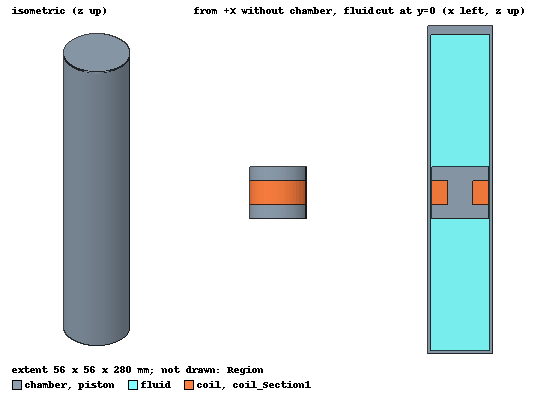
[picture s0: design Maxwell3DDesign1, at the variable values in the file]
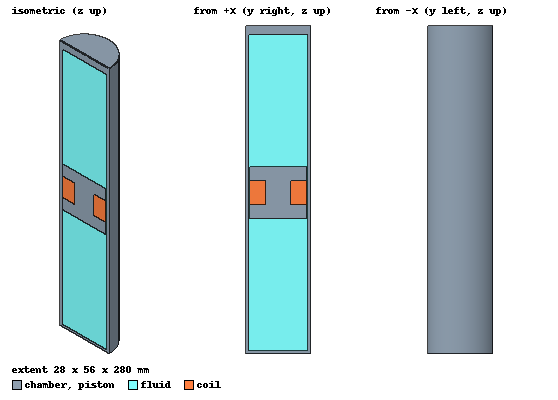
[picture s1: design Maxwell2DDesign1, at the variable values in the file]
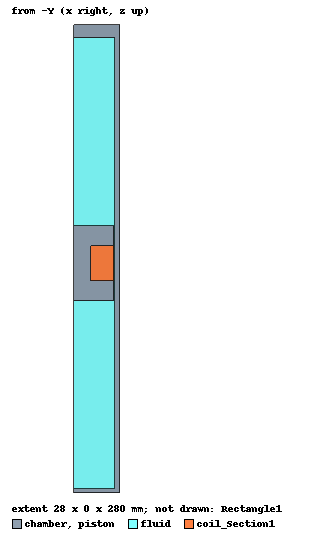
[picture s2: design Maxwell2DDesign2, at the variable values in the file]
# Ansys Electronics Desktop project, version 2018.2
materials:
  vacuum: permittivity=1
  copper: permeability=0.999991 conductivity=58000000
  steel_1008: permeability{BType=normal HUnit=A_per_meter BUnit=tesla curve (0, 0) (159.2, 0.2402) (318.3, 0.8654) (477.5, 1.1106) (636.6, 1.2458) (795.8, 1.331) (1591.5, 1.5) (3183.1, 1.6) (4774.6, 1.683) (6366.2, 1.741) (7957.7, 1.78) (15915.5, 1.905) (31831, 2.025) (47746.5, 2.085) (63662, 2.13) (79577.5, 2.165) (159155, 2.28) (318310, 2.485) (397887, 2.5851)} conductivity=2000000
  MR_fluid: permeability{BType=normal HUnit=kA_per_meter BUnit=tesla curve (0, 0) (5.7065217, 0.072045028) (10.461957, 0.12007505) (15.155199, 0.15630423) (21.908371, 0.19567732) (28.661544, 0.23564249) (36.540245, 0.27427549) (44.981711, 0.31290849) (52.8604119, 0.34817933) (61.864642, 0.38869429) (71.43163616, 0.42614313) (80.99863, 0.46487481) (91.691154, 0.50278745) (102.94644, 0.53920016) (114.76449, 0.57756672) (127.14531, 0.61422164) (139.52613, 0.64635526) (151.9069413, 0.67703559) (164.28776, 0.70755444) (176.66857, 0.736942973) (189.04939, 0.76358642) (201.43021, 0.78764626) (213.81102, 0.81202905) (226.19184, 0.83625036) (238.57265, 0.86014873) (250.95347, 0.88388562) (263.33429, 0.90746103) (275.7151, 0.92942169) (288.09592, 0.94912169) (300.47674, 0.96849874) (312.85755, 0.98803727) (325.23837, 1.0074143) (337.61918, 1.0243692) (350, 1.0416471) (362.3808162, 1.0579561) (374.76163, 1.0749111) (387.14245, 1.0926734) (399.52326, 1.1094668) (411.90408, 1.1272291) (424.2849, 1.1453143) (436.66571, 1.1625922) (449.04653, 1.180516) (461.42735, 1.1986012) (473.80816, 1.2153947) (486.18898, 1.2323496) (498.56979, 1.249143) (510.95061, 1.265775) (523.33143, 1.2827299) (535.7122426, 1.2993619) (548.09306, 1.3158324) (560.47387, 1.3329488) (572.85469, 1.3486119) (585.23551, 1.3647595) (597.61632, 1.3810685) (609.99714, 1.3965701) (622.37796, 1.4127177) (634.75877, 1.4287037)}

design Maxwell3DDesign1 (Maxwell 3D, Magnetostatic, model units mm)
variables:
  Amp = 0.2A
  Turns = 360
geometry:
  Cylinder1 = cylinder(axis=Z, base_centre=(0mm, 0mm, -135mm), radius=25mm, height=270mm)
  chamber [steel_1008] = cylinder(axis=Z, base_centre=(0mm, 0mm, -137.5mm), radius=28mm, height=280mm)
  piston [steel_1008] = cylinder(axis=Z, base_centre=(0mm, 0mm, -22.5mm), radius=24.1mm, height=45mm)
  Circle1 = circle(normal=Z, centre=(0mm, 0mm, 22.5mm), radius=10.39mm)
  coil [copper] = circle(normal=Z, centre=(0mm, 0mm, 22.5mm), radius=24.1mm)
  coil.subtract(Circle1)
  chamber.subtract(Cylinder1)
  coil.thicken(21mm)
  coil.move(0mm, 0mm, -33mm)
  Circle2_1 = coil.copy()
  piston.subtract(Circle2_1)
  fluid [MR_fluid] = cylinder(axis=Z, base_centre=(0mm, 0mm, -135mm), radius=25mm, height=270mm)
  coil_Section1 [copper] = coil.section(plane=ZX)
  coil_Section1.separate_bodies()
  Region [vacuum] = region(percentage_offset=100 on all sides)
  coil_1 = coil.copy()
  piston_1 = piston.copy()
  fluid.subtract(coil_1, piston_1)
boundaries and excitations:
  Insulating1: Insulating Objects=coil
  Current1: Current Objects=coil_Section1 Current=Amp*Turns IsSolid=false Point_out_of_terminal=true
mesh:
  initial mesh: GlobalSurfApproximation{CurvedSurfaceApproxChoice=UseSlider SliderMeshSettings=7} GlobalCurvilinear{Apply}
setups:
  Setup1: Magnetostatic MaximumPasses=25 MinimumPasses=2 MinimumConvergedPasses=1 PercentRefinement=30 PercentError=0.1 NonLinearResidual=0.001
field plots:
  Mag_B1: B over a plane on Setup1 : LastAdaptive

design Maxwell2DDesign1 (Maxwell 3D, Magnetostatic, model units mm)
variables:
  Amp = 0.2A
  Turns = 360
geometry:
  Cylinder1 = cylinder(axis=Z, base_centre=(0mm, 0mm, -135mm), radius=25mm, height=270mm)
  chamber [steel_1008] = cylinder(axis=Z, base_centre=(0mm, 0mm, -137.5mm), radius=28mm, height=280mm)
  piston [steel_1008] = cylinder(axis=Z, base_centre=(0mm, 0mm, -22.5mm), radius=24.1mm, height=45mm)
  Circle1 = circle(normal=Z, centre=(0mm, 0mm, 22.5mm), radius=10.39mm)
  coil [copper] = circle(normal=Z, centre=(0mm, 0mm, 22.5mm), radius=24.1mm)
  coil.subtract(Circle1)
  chamber.subtract(Cylinder1)
  coil.thicken(21mm)
  coil.move(0mm, 0mm, -33mm)
  Circle2_1 = coil.copy()
  piston.subtract(Circle2_1)
  fluid [MR_fluid] = cylinder(axis=Z, base_centre=(0mm, 0mm, -135mm), radius=25mm, height=270mm)
  [chamber, piston, coil, fluid].split(plane=YZ, keep=NegativeOnly)
  coil_1 = coil.copy()
  piston_1 = piston.copy()
  fluid.subtract(coil_1, piston_1)
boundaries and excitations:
  Insulating1: Insulating Objects=coil
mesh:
  initial mesh: GlobalSurfApproximation{CurvedSurfaceApproxChoice=UseSlider SliderMeshSettings=7} GlobalCurvilinear{Apply}
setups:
  Setup1: Magnetostatic MaximumPasses=25 MinimumPasses=2 MinimumConvergedPasses=1 PercentRefinement=30 PercentError=1 NonLinearResidual=0.001

design Maxwell2DDesign2 (Maxwell 2D, Magnetostatic, about Z geometry, model units mm)
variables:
  Amp = 0.2A
  Turns = 360
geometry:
  Cylinder1 = cylinder(axis=Z, base_centre=(0mm, 0mm, -135mm), radius=25mm, height=270mm)
  chamber#15 = cylinder(axis=Z, base_centre=(0mm, 0mm, -137.5mm), radius=28mm, height=280mm)
  piston#24 = cylinder(axis=Z, base_centre=(0mm, 0mm, -22.5mm), radius=24.1mm, height=45mm)
  Circle1 = circle(normal=Z, centre=(0mm, 0mm, 22.5mm), radius=10.39mm)
  coil#39 = circle(normal=Z, centre=(0mm, 0mm, 22.5mm), radius=24.1mm)
  coil#39.subtract(Circle1)
  chamber#15.subtract(Cylinder1)
  coil#39.thicken(21mm)
  coil#39.move(0mm, 0mm, -33mm)
  Circle2_1 = coil#39.copy()
  piston#24.subtract(Circle2_1)
  fluid#99 = cylinder(axis=Z, base_centre=(0mm, 0mm, -135mm), radius=25mm, height=270mm)
  coil_Section1 [copper] = coil#39.section(plane=ZX)
  coil_Section1.separate_bodies()
  chamber [steel_1008] = chamber#15.section(plane=ZX)
  chamber#15.delete()
  piston [steel_1008] = piston#24.section(plane=ZX)
  piston#24.delete()
  coil [copper] = coil#39.section(plane=ZX)
  coil#39.delete()
  fluid [MR_fluid] = fluid#99.section(plane=ZX)
  fluid#99.delete()
  [coil_Section1, chamber, piston, coil, fluid].split(plane=YZ, keep=PositiveOnly)
  Rectangle1 [vacuum] = rectangle(corner=(0mm, 0mm, 180mm), z_size=-360mm, x_size=60mm)
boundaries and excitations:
  Balloon1: Balloon Edges=Rectangle1.edge(z at corner, x opposite corner, z opposite corner)
  Current1: Current Objects=coil Current=Amp*Turns IsPositive=true
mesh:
  initial mesh: MeshMethod=AnsoftTAU
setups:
  Setup2: Magnetostatic MaximumPasses=25 MinimumPasses=2 MinimumConvergedPasses=1 PercentRefinement=30 PercentError=1 NonLinearResidual=0.0001
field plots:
  Mag_B1: B over a plane on Setup2 : LastAdaptive
